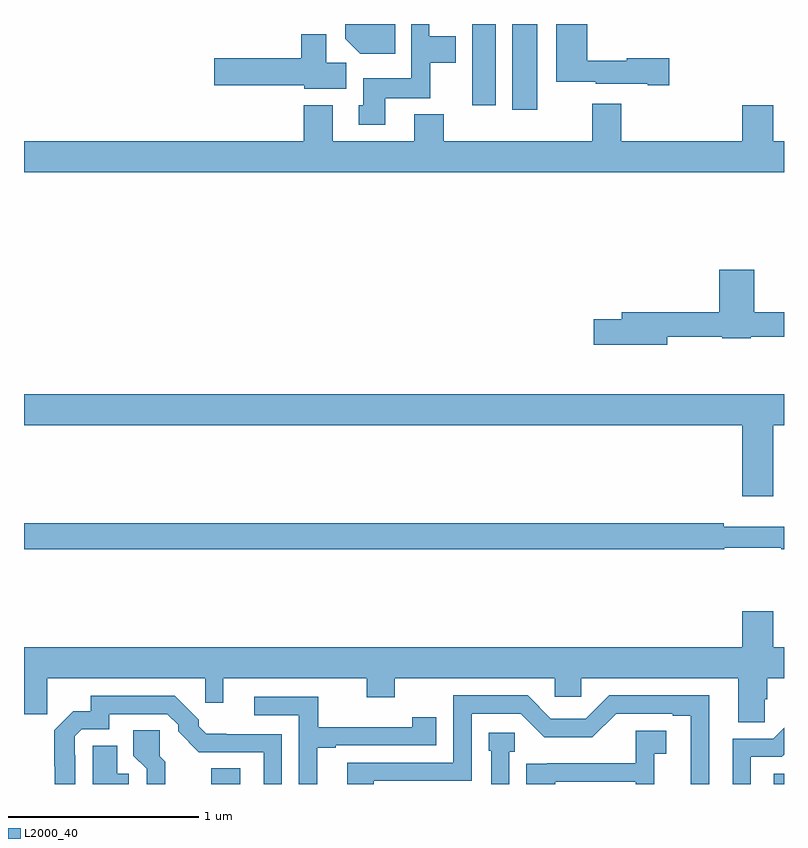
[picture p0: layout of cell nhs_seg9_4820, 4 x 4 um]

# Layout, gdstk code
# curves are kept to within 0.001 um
import gdstk
lib = gdstk.Library(unit=1e-6, precision=1e-09)
def R(c, l, rs):  # rectangles x0, y0, x1, y1
    for r in rs: c.add(gdstk.rectangle(r[:2], r[2:], *l))
def P(c, l, *ps):  # polygons
    for p in ps: c.add(gdstk.Polygon(p, *l))
L2000_40 = (2000, 40)

nhs_seg9_4820 = lib.new_cell('nhs_seg9_4820')
R(nhs_seg9_4820, L2000_40, [(389.985,1226.5,390.139,1226.582), (392.946,1226.5,393,1226.554), (391.571,1230.048,391.702,1230.5), (391.358,1230.072,391.483,1230.5)])
P(nhs_seg9_4820, L2000_40, [(390.953,1230.5),(390.692,1230.5),(390.692,1230.422),(390.77,1230.344),(390.953,1230.344)],
  [(390.901,1230.11),(391.137,1230.11),(391.137,1230.296),(391.273,1230.296),(391.273,1230.436),(391.134,1230.436),(391.134,1230.5),(391.038,1230.5),(391.038,1230.214),(390.785,1230.214),(390.785,1230.072),(390.761,1230.072),(390.761,1229.97),(390.901,1229.97)],
  [(392.395,1230.32),(392.172,1230.32),(392.172,1230.307),(391.964,1230.307),(391.964,1230.5),(391.802,1230.5),(391.802,1230.197),(392.01,1230.197),(392.01,1230.185),(392.282,1230.185),(392.282,1230.178),(392.395,1230.178)],
  [(390.697,1230.296),(390.592,1230.296),(390.592,1230.445),(390.458,1230.445),(390.458,1230.32),(390,1230.32),(390,1230.178),(390.474,1230.178),(390.474,1230.158),(390.697,1230.158)],
  [(393,1229.884),(392.944,1229.884),(392.944,1230.073),(392.78,1230.073),(392.78,1229.884),(392.144,1229.884),(392.144,1230.079),(391.991,1230.079),(391.991,1229.884),(391.208,1229.884),(391.208,1230.025),(391.055,1230.025),(391.055,1229.884),(390.625,1229.884),(390.625,1230.073),(390.473,1230.073),(390.473,1229.884),(389,1229.884),(389,1229.72),(393,1229.72)],
  [(392.386,1228.854),(392.676,1228.854),(392.676,1228.846),(392.826,1228.846),(392.826,1228.854),(393,1228.854),(393,1228.982),(392.843,1228.982),(392.843,1229.206),(392.66,1229.206),(392.66,1228.982),(392.147,1228.982),(392.147,1228.946),(391.998,1228.946),(391.998,1228.811),(392.386,1228.811)],
  [(392.944,1228.388),(393,1228.388),(393,1228.552),(389,1228.552),(389,1228.388),(392.78,1228.388),(392.78,1228.014),(392.944,1228.014)],
  [(392.686,1227.744),(392.986,1227.744),(392.986,1227.736),(393,1227.736),(393,1227.853),(392.684,1227.853),(392.684,1227.872),(389,1227.872),(389,1227.736),(392.686,1227.736)],
  [(389,1226.868),(389.123,1226.868),(389.123,1227.056),(389.953,1227.056),(389.953,1226.927),(390.049,1226.927),(390.049,1227.056),(390.803,1227.056),(390.803,1226.957),(390.951,1226.957),(390.951,1227.056),(391.794,1227.056),(391.794,1226.958),(391.932,1226.958),(391.932,1227.056),(392.759,1227.056),(392.759,1226.824),(392.898,1226.824),(392.898,1226.947),(392.912,1226.947),(392.912,1227.056),(393,1227.056),(393,1227.22),(392.944,1227.22),(392.944,1227.409),(392.78,1227.409),(392.78,1227.22),(389,1227.22)],
  [(390.841,1226.517),(391.356,1226.517),(391.356,1226.871),(391.614,1226.871),(391.738,1226.747),(391.992,1226.747),(392.116,1226.871),(392.414,1226.871),(392.414,1226.859),(392.51,1226.859),(392.51,1226.5),(392.607,1226.5),(392.607,1226.967),(392.079,1226.967),(391.956,1226.844),(391.773,1226.844),(391.65,1226.967),(391.26,1226.967),(391.26,1226.613),(390.701,1226.613),(390.701,1226.5),(390.841,1226.5)],
  [(389.271,1226.651),(389.268,1226.651),(389.268,1226.751),(389.304,1226.787),(389.448,1226.787),(389.448,1226.868),(389.754,1226.868),(389.811,1226.811),(389.811,1226.777),(389.921,1226.667),(390.261,1226.667),(390.261,1226.5),(390.357,1226.5),(390.357,1226.763),(389.96,1226.764),(389.92,1226.805),(389.92,1226.839),(389.794,1226.964),(389.35,1226.964),(389.35,1226.884),(389.26,1226.884),(389.16,1226.784),(389.16,1226.593),(389.163,1226.593),(389.163,1226.5),(389.271,1226.5)],
  [(390.544,1226.691),(390.64,1226.691),(390.64,1226.703),(391.171,1226.703),(391.171,1226.851),(391.043,1226.851),(391.043,1226.8),(390.548,1226.8),(390.548,1226.958),(390.213,1226.958),(390.213,1226.862),(390.447,1226.862),(390.447,1226.5),(390.544,1226.5)],
  [(392.826,1226.643),(392.988,1226.643),(393,1226.655),(393,1226.796),(392.943,1226.739),(392.73,1226.739),(392.73,1226.5),(392.826,1226.5)],
  [(389.744,1226.618),(389.715,1226.647),(389.715,1226.782),(389.576,1226.782),(389.576,1226.65),(389.646,1226.58),(389.646,1226.5),(389.744,1226.5)],
  [(391.797,1226.511),(392.22,1226.511),(392.22,1226.5),(392.317,1226.5),(392.317,1226.658),(392.38,1226.658),(392.38,1226.779),(392.22,1226.779),(392.22,1226.608),(391.753,1226.608),(391.753,1226.607),(391.643,1226.607),(391.643,1226.5),(391.797,1226.5)],
  [(391.554,1226.671),(391.584,1226.671),(391.584,1226.769),(391.445,1226.769),(391.445,1226.676),(391.458,1226.676),(391.458,1226.5),(391.554,1226.5)],
  [(389.55,1226.555),(389.491,1226.555),(389.491,1226.702),(389.361,1226.702),(389.361,1226.5),(389.55,1226.5)])

lib.write_gds('nhs_seg9_4820.gds')
